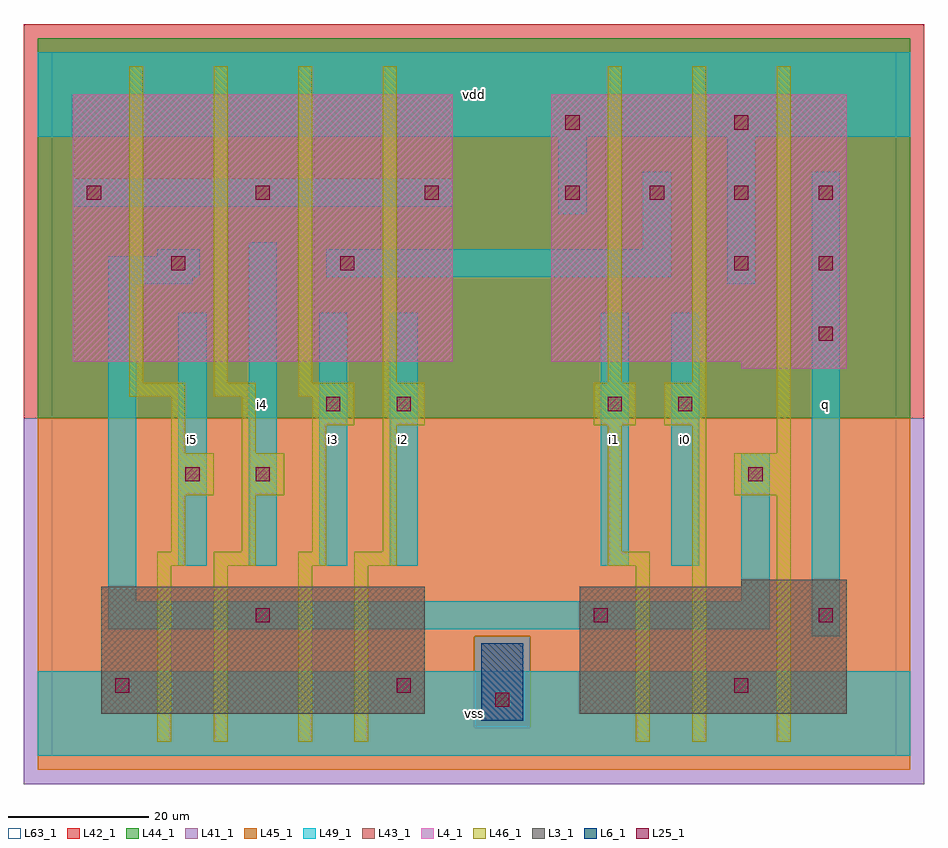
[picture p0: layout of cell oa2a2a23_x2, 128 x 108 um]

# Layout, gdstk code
import gdstk
lib = gdstk.Library(unit=1e-6, precision=1e-09)
def R(c, l, rs):  # rectangles x0, y0, x1, y1
    for r in rs: c.add(gdstk.rectangle(r[:2], r[2:], *l))
def A(c, l, x, y, w, h, nx, ny, dx, dy):  # array of equal rectangles
    R(c, l, [(x+i*dx, y+j*dy, x+i*dx+w, y+j*dy+h) for i in range(nx) for j in range(ny)])
L3_1 = (3, 1)
L4_1 = (4, 1)
L6_1 = (6, 1)
L25_1 = (25, 1)
L41_1 = (41, 1)
L42_1 = (42, 1)
L43_1 = (43, 1)
L44_1 = (44, 1)
L45_1 = (45, 1)
L46_1 = (46, 1)
L49_1 = (49, 1)
L63_1 = (63, 1)

oa2a2a23_x2 = lib.new_cell('oa2a2a23_x2')
R(oa2a2a23_x2, L3_1, [(7,6,53,24), (75,6,113,24), (98,24,113,25)])
R(oa2a2a23_x2, L4_1, [(98,55,113,56), (3,56,57,94), (71,56,113,94)])
R(oa2a2a23_x2, L6_1, [(61,5,67,16), (61,5,67,16)])
A(oa2a2a23_x2, L25_1, 5, 79, 2, 2, 3, 1, 24, 0)
A(oa2a2a23_x2, L25_1, 73, 79, 2, 2, 4, 1, 12, 0)
R(oa2a2a23_x2, L25_1, [(63,7,65,9), (9,9,11,11), (49,9,51,11), (97,9,99,11), (29,19,31,21), (77,19,79,21), (109,19,111,21), (19,39,21,41), (29,39,31,41), (99,39,101,41), (39,49,41,51), (49,49,51,51), (79,49,81,51), (89,49,91,51), (109,59,111,61), (17,69,19,71), (41,69,43,71), (97,69,99,71), (109,69,111,71), (73,89,75,91), (97,89,99,91)])
R(oa2a2a23_x2, L41_1, [(-4,-4,124,48)])
R(oa2a2a23_x2, L42_1, [(-4,48,124,104)])
R(oa2a2a23_x2, L43_1, [(61,5,67,16), (7,6,53,24), (75,6,113,24), (98,24,113,25), (98,55,113,56), (3,56,57,94), (71,56,113,94)])
R(oa2a2a23_x2, L44_1, [(60,4,68,17), (-2,48,122,102)])
R(oa2a2a23_x2, L45_1, [(-2,-2,122,4), (-2,4,60,17), (68,4,122,17), (-2,17,122,48)])
A(oa2a2a23_x2, L46_1, 11, 53, 2, 45, 4, 1, 12, 0)
R(oa2a2a23_x2, L46_1, [(15,2,17,27), (23,2,25,27), (35,2,37,27), (43,2,45,27), (83,2,85,27), (91,2,93,47), (103,2,105,37), (15,27,19,29), (23,27,29,29), (35,27,39,29), (43,27,49,29), (79,27,85,29), (17,29,19,37), (27,29,29,37), (37,29,39,47), (47,29,49,47), (79,29,81,47), (17,37,23,43), (27,37,33,43), (97,37,105,43), (17,43,19,51), (27,43,29,51), (103,43,105,98), (37,47,43,51), (47,47,53,53), (77,47,83,53), (87,47,93,53), (11,51,19,53), (23,51,29,53), (35,51,43,53), (79,53,81,98), (91,53,93,98)])
R(oa2a2a23_x2, L49_1, [(-2,0,122,12), (108,17,112,83), (8,18,102,22), (8,22,12,67), (98,22,102,43), (18,27,22,63), (28,27,32,73), (38,27,42,63), (48,27,52,63), (78,27,82,63), (88,27,92,63), (8,67,20,68), (96,67,100,88), (8,68,21,71), (39,68,88,72), (15,71,21,72), (84,72,88,83), (72,77,76,88), (3,78,57,82), (-2,88,122,100)])
R(oa2a2a23_x2, L63_1, [(0,0,120,100)])
oa2a2a23_x2.add(gdstk.Label('i5', (20,45), layer=49, texttype=1))
oa2a2a23_x2.add(gdstk.Label('i4', (30,50), layer=49, texttype=1))
oa2a2a23_x2.add(gdstk.Label('i3', (40,45), layer=49, texttype=1))
oa2a2a23_x2.add(gdstk.Label('vss', (60,6), layer=49, texttype=1))
oa2a2a23_x2.add(gdstk.Label('i2', (50,45), layer=49, texttype=1))
oa2a2a23_x2.add(gdstk.Label('vdd', (60,94), layer=49, texttype=1))
oa2a2a23_x2.add(gdstk.Label('i0', (90,45), layer=49, texttype=1))
oa2a2a23_x2.add(gdstk.Label('i1', (80,45), layer=49, texttype=1))
oa2a2a23_x2.add(gdstk.Label('q', (110,50), layer=49, texttype=1))

lib.write_gds('oa2a2a23_x2.gds')
